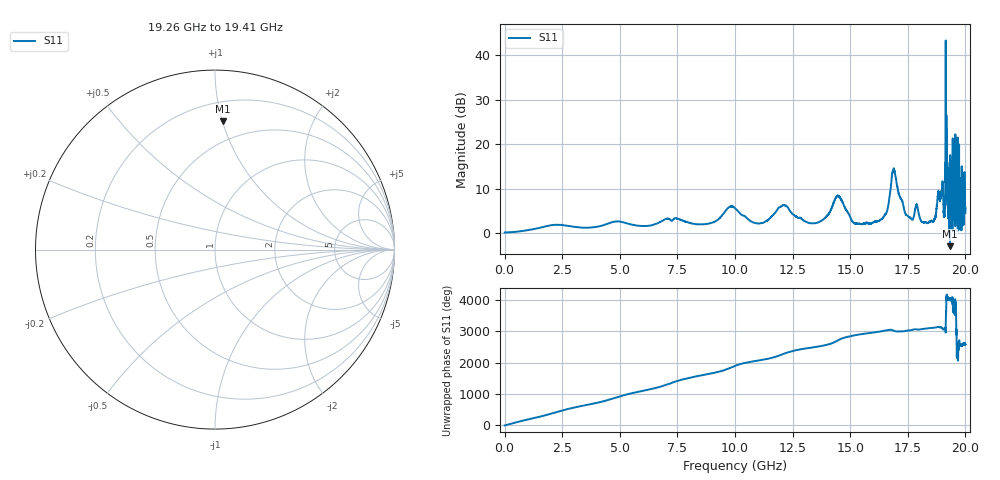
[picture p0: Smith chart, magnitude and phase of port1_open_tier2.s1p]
! Created with skrf 1.8.0 (http://scikit-rf.org).
# GHz S RI R 50.0
!freq ReS11 ImS11
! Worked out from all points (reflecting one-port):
!   10001 points, 1 MHz to 20 GHz, reference 50 ohm
!   lowest |S11| = -2.9 dB at 19.33 GHz (marker M1), VSWR 6.02, Z = 17.1 + j50.1 ohm
!   phase of S11 starts at 0 deg and turns +2584 deg over the sweep
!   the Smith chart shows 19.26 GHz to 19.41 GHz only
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0.001  1.015 0.00362
1.522924  0.17 -1.138
2.500875  -0.5587 1.104
4.040798  1.18 0.124
5.00075  -1.201 -0.6261
5.856707  1.211 0.00646
6.940653  -1.383 -0.3291
7.500625  1.355 -0.5507
8.126594  -0.1123 1.283
9.388531  0.4932 -1.45
10.0005  -0.311 1.891
10.84846  -0.4774 -1.217
11.69042  1.602 0.3616
12.0404  -0.4364 1.976
12.50038  -1.406 -0.8477
13.79031  1.344 0.4056
14.23229  -0.5588 1.946
14.45228  -2.626 -0.2641
15.00025  1.169 -0.98
16.18219  -0.1834 1.349
16.82816  -4.398 1.874
16.97815  -1.882 3.758
17.50013  -1.252 0.9418
18.88806  -0.9802 -2.358
19.04005  -2.581 0.1929
19.24204  1.116 1.896
19.33003  0.0432 0.7138
20  0.7273 1.516
